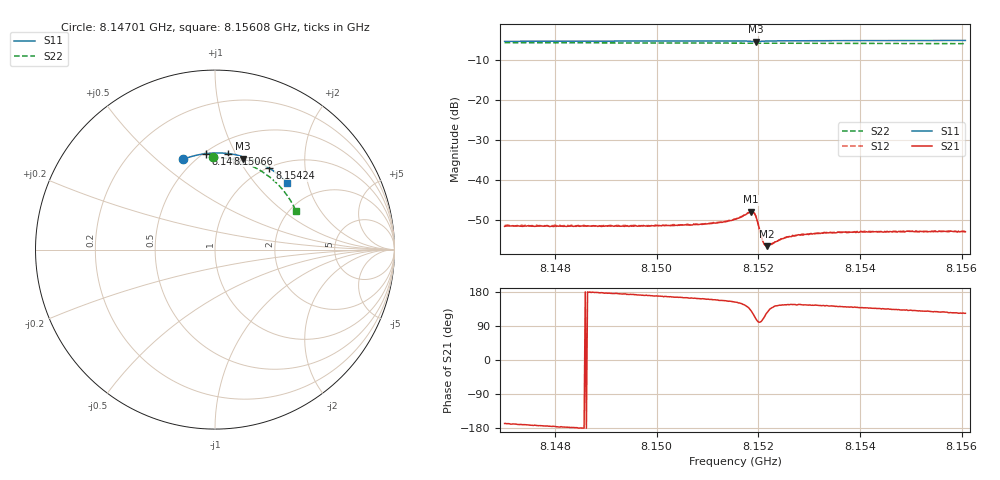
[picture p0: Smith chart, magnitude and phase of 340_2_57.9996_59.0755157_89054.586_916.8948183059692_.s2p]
#  HZ  S  RI  R  50.00
! Rohde & Schwarz Vector Network Analyzer
! Rohde-Schwarz,ZNB20-2Port,1311601062101988,3.16
! Created: UTC 3/21/2024, 1:05:28 AM
! freq[Hz]  re:S11  im:S11  re:S21  im:S21  re:S12  im:S12  re:S22  im:S22
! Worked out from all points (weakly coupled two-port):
!   401 points, 8.14701 GHz to 8.15608 GHz, reference 50 ohm
!   highest |S21| = -48.01 dB at 8.15186 GHz (marker M1); lowest = -56.6 dB at 8.15218 GHz (marker M2)
!   lowest |S11| = -5.5 dB at 8.15195 GHz (marker M3), VSWR 3.26, Z = 37.2 + j52.4 ohm
!   |S11| at or under -10 dB: nowhere
!   |S22| runs from -6.0 to -5.8 dB; largest |S21 - S12| = 0.00015
!   S11 on the Smith chart (normalised r, x): 8.14701 GHz: 0.44, +0.62; 8.14885 GHz: 0.51, +0.77; 8.15066 GHz: 0.62, +0.94; 8.15424 GHz: 1.02, +1.31; 8.15608 GHz: 1.40, +1.50
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8.147012e9  -0.1762 0.504  -0.00254 -0.000561  -0.00266 -0.000475  -0.00909 0.5133
8.14853e9  -0.0739 0.5316  -0.00263 -1.9e-05  -0.00265 5.41e-06  0.0894 0.5038
8.148847e9  -0.052 0.5347  -0.0026 8.89e-05  -0.00266 0.000166  0.1096 0.4995
8.150049e9  0.0315 0.5383  -0.00262 0.000525  -0.00259 0.000557  0.1832 0.4755
8.15066e9  0.0741 0.5351  -0.00258 0.00079  -0.0026 0.00083  0.219 0.4593
8.15125e9  0.1153 0.5286  -0.0027 0.00113  -0.0027 0.00115  0.252 0.4411
8.151544e9  0.1363 0.5232  -0.00284 0.00145  -0.00286 0.00149  0.2679 0.431
8.151861e9  0.1578 0.5107  -0.00254 0.00305  -0.00251 0.00311  0.2846 0.4192
8.151907e9  0.1585 0.5076  -0.00195 0.00335  -0.00193 0.00343  0.2866 0.4174
8.151952e9  0.1577 0.5064  -0.00115 0.00331  -0.0011 0.00335  0.2888 0.4159
8.151997e9  0.1573 0.5075  -0.00054 0.00277  -0.000499 0.00281  0.2912 0.4143
8.152065e9  0.1604 0.5106  -0.000408 0.00184  -0.000415 0.00188  0.2945 0.412
8.152088e9  0.162 0.5111  -0.000495 0.00165  -0.000499 0.00165  0.2958 0.411
8.152133e9  0.1657 0.5119  -0.000669 0.00136  -0.00069 0.00137  0.2981 0.4093
8.152179e9  0.1694 0.5118  -0.000857 0.0012  -0.000876 0.0012  0.3004 0.4078
8.152224e9  0.173 0.5115  -0.00105 0.0011  -0.00103 0.00111  0.3028 0.4059
8.152564e9  0.198 0.5051  -0.00159 0.00108  -0.00159 0.00108  0.3194 0.3922
8.152904e9  0.2207 0.4966  -0.0017 0.00117  -0.00172 0.00118  0.3355 0.3779
8.153063e9  0.2309 0.4922  -0.0017 0.00121  -0.00171 0.00125  0.3428 0.3709
8.154241e9  0.3029 0.4537  -0.00163 0.00154  -0.00162 0.00156  0.3917 0.3155
8.154581e9  0.3224 0.4405  -0.00156 0.00161  -0.00154 0.00162  0.4042 0.2982
8.156077e9  0.4006 0.3736  -0.00123 0.00187  -0.0012 0.00188  0.4501 0.2174
